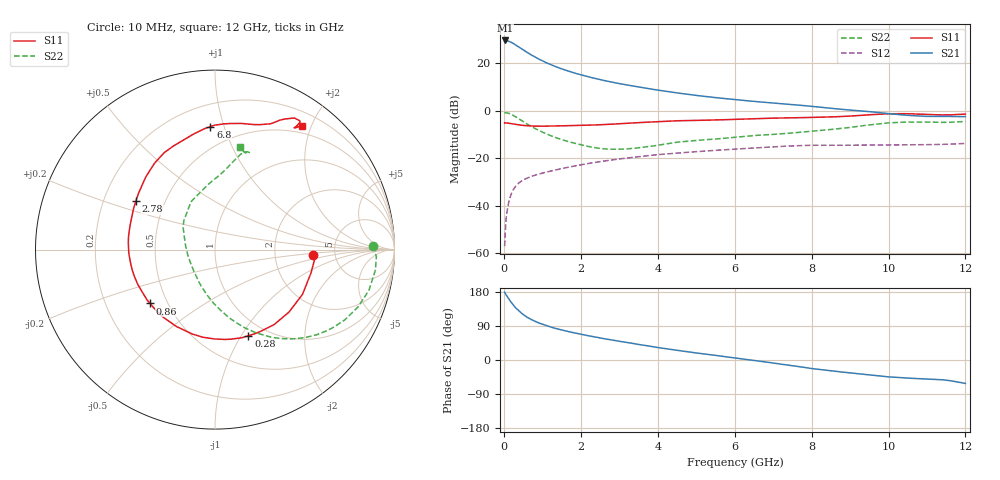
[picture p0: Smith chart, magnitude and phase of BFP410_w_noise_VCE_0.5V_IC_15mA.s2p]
! Infineon Technologies  Discrete & RF Semiconductors
! BFP410
! VCE =  0.5 V,  IC =  15 mA
! Common Emitter S-Parameters:  Nov 2015
# GHz  S  MA  R  50
!  f  S11  S21  S12  S22
! GHz  MAG  ANG  MAG  ANG  MAG  ANG  MAG  ANG
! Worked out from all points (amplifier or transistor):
!   243 points, 10 MHz to 12 GHz, reference 50 ohm
!   highest |S21| = 29.5 dB at 20 MHz (marker M1)
!   |S21| within 3 dB of that: start of sweep to 405.8 MHz
!   unconditionally stable (mu >= 1): start of sweep to 21.17 MHz; 1.731 GHz to 11.99 GHz
!   at 240 MHz: K = 0.29, MSG = 30.7 dB, |S12| = -33.2 dB
!   at 1.84 GHz: K = 1.03, MAG = 18.5 dB, |S12| = -23.3 dB
!   at 12 GHz: K = 0.99, MSG = 5.6 dB, |S12| = -13.8 dB
!   lowest NFmin = 1.50 dB at 900 MHz
!   S11 on the Smith chart (normalised r, x): 10 MHz: 3.39, -0.27; 280 MHz: 0.82, -1.08; 860 MHz: 0.40, -0.31; 2.78 GHz: 0.34, +0.25; 6.8 GHz: 0.35, +0.90; 12 GHz: 0.39, +1.86
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0.01  0.5469 -2.9  28.74 179.2  0.0014 114.0  0.8829 1.3
0.02  0.5572 -5.9  29.92 176.7  0.0021 87.4  0.9002 -2.5
0.1  0.5475 -27.2  29.21 164.3  0.0102 79.6  0.8872 -14.8
0.15  0.5396 -40.2  28.07 156.5  0.0149 74.1  0.8579 -22.0
0.2  0.5319 -51.9  26.91 149.7  0.019 69.8  0.8219 -28.5
0.28  0.5148 -68.8  24.59 139.8  0.0244 63.6  0.7549 -37.8
0.4  0.4979 -90.3  21.34 127.6  0.0308 57.0  0.6562 -49.3
0.52  0.4838 -107.4  18.39 118.1  0.0355 52.9  0.5693 -58.3
0.6  0.4794 -116.8  16.71 112.5  0.0381 50.9  0.5186 -63.6
0.7  0.4743 -127.3  14.91 107.0  0.041 49.1  0.4661 -69.2
0.86  0.4701 -140.3  12.63 99.6  0.0451 47.2  0.3978 -76.9
1  0.4698 -150.0  11.04 93.9  0.0484 46.3  0.3497 -83.3
1.3  0.475 -165.8  8.656 84.3  0.0554 44.9  0.278 -95.3
1.6  0.4808 -177.7  7.061 76.7  0.0626 44.1  0.2309 -106.5
2.02  0.4883 168.9  5.59 67.5  0.0729 42.2  0.1881 -121.8
2.78  0.5168 148.6  3.998 53.1  0.0908 37.4  0.1537 -157.0
4.1  0.5915 123.4  2.622 31.5  0.1201 26.7  0.1918 154.1
6.1  0.6582 99.5  1.674 4.1  0.1562 9.9  0.2801 120.9
6.8  0.6856 92.1  1.489 -5.2  0.1688 3.5  0.3087 111.7
8.2  0.723 75.4  1.183 -24.9  0.1859 -12.1  0.3806 92.6
10.2  0.8577 57.8  0.834 -45.8  0.189 -27.3  0.5606 73.7
12  0.8431 54.9  0.746 -61.8  0.2035 -40.7  0.5902 76.2
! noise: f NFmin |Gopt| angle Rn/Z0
0.45  1.52  0.06  -134  0.19
0.9  1.5  0.07  -151  0.16
1.8  1.61  0.12  -142  0.16
2.4  1.64  0.18  -123  0.21
5.5  2.49  0.39  -106  0.35
10  3.6  0.69  -47  2.16
